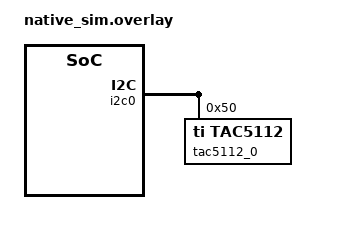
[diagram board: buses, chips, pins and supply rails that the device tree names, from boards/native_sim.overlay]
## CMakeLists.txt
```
#
# Copyright (c) 2026 Nordic Semiconductor ASA
#
# SPDX-License-Identifier: Apache-2.0
#

cmake_minimum_required(VERSION 3.20.0)
find_package(Zephyr REQUIRED HINTS $ENV{ZEPHYR_BASE})
project(tac5112_api)

# tac5112.h is a private driver header (not installed on the public
# include path); this whitebox test suite includes it directly to reach
# tac5112_reg_write()/tac5112_reg_read()/tac5112_configure_pll()/
# tac5112_dvol_from_half_db(), so add drivers/audio/ to the include path.
zephyr_include_directories(${ZEPHYR_BASE}/drivers/audio)

FILE(GLOB app_sources src/*.c)
target_sources(app PRIVATE ${app_sources})
```

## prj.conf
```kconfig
CONFIG_ZTEST=y

CONFIG_AUDIO=y
CONFIG_AUDIO_CODEC=y
CONFIG_AUDIO_TAC5112=y
CONFIG_AUDIO_TAC5112_EMUL=y

CONFIG_I2C=y
CONFIG_GPIO=y
CONFIG_EMUL=y
```

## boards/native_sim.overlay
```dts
/*
 * Copyright (c) 2026 Nordic Semiconductor ASA
 * SPDX-License-Identifier: Apache-2.0
 */

/ {
	aliases {
		tac5112-0 = &tac5112_0;
	};
};

&i2c0 {
	tac5112_0: audio-codec@50 {
		compatible = "ti,tac5112";
		reg = <0x50>;
	};
};
```

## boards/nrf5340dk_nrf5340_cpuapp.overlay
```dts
/*
 * Copyright (c) 2026 Nordic Semiconductor ASA
 * SPDX-License-Identifier: Apache-2.0
 *
 * Runs the TAC5112 driver + I2C-mock ztest suite on the nRF5340 DK
 * application core (Cortex-M33). Like the qemu_cortex_m3 overlay, it
 * supplies a software "zephyr,i2c-emul-controller" so the whole stack --
 * driver, Zephyr I2C API, and the mock -- runs with no physical codec.
 */

#include <zephyr/dt-bindings/i2c/i2c.h>

/ {
	aliases {
		tac5112-0 = &tac5112_0;
	};

	tac5112_i2c: i2c@100 {
		status = "okay";
		compatible = "zephyr,i2c-emul-controller";
		reg = <0x100 4>;
		clock-frequency = <I2C_BITRATE_STANDARD>;
		#address-cells = <1>;
		#size-cells = <0>;

		tac5112_0: audio-codec@50 {
			compatible = "ti,tac5112";
			reg = <0x50>;
		};
	};
};
```

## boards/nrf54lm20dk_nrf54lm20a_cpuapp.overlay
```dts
/*
 * Copyright (c) 2026 Nordic Semiconductor ASA
 * SPDX-License-Identifier: Apache-2.0
 *
 * Devicetree overlay for running the TAC5112 driver + I2C-mock ztest suite
 * on a Nordic nRF54LM20 DK (board target nrf54lm20dk/nrf54lm20a/cpuapp).
 *
 * This runs the *unit tests* on the real Cortex-M33 application core -- the
 * production driver code, the real Zephyr I2C API, kernel mutex and system
 * workqueue -- without needing a physical TAC5112 wired up. As on QEMU, the
 * codec is provided by the software mock (drivers/audio/tac5112_emul.c)
 * bound to a "zephyr,i2c-emul-controller" bus, so no real TWIM pins are
 * touched. For driving a *physical* codec over a real TWIM instance, see
 * the production overlay snippet in README.md instead.
 *
 * NOTE: confirm the exact board target on your NCS/Zephyr version with
 *   west boards | grep -i 54lm20
 * If it differs (e.g. a different SoC revision or a /ns variant), rename
 * this file to boards/<that-target-with-slashes-as-underscores>.overlay.
 */

#include <zephyr/dt-bindings/i2c/i2c.h>

/ {
	aliases {
		tac5112-0 = &tac5112_0;
	};

	tac5112_i2c: i2c@100 {
		status = "okay";
		compatible = "zephyr,i2c-emul-controller";
		/* This binding marks reg as required. The node is not real
		 * MMIO -- reg is only an identifier for an emulated bus -- but
		 * it must be present and match the @unit-address above.
		 */
		reg = <0x100 4>;
		clock-frequency = <I2C_BITRATE_STANDARD>;
		#address-cells = <1>;
		#size-cells = <0>;

		tac5112_0: audio-codec@50 {
			compatible = "ti,tac5112";
			reg = <0x50>;
		};
	};
};
```

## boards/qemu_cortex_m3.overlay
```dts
/*
 * Copyright (c) 2026 Nordic Semiconductor ASA
 * SPDX-License-Identifier: Apache-2.0
 *
 * Devicetree overlay for running the TAC5112 driver + I2C-mock ztest suite
 * on the qemu_cortex_m3 platform.
 *
 * Unlike native_sim (whose board devicetree already ships an emulated I2C
 * bus at &i2c0), qemu_cortex_m3 models the TI LM3S6965 SoC and provides no
 * usable I2C controller under QEMU. This overlay therefore instantiates a
 * software "zephyr,i2c-emul-controller" bus at the root of the tree and
 * hangs the TAC5112 node off it. Both the real driver device and the I2C
 * emulator (drivers/audio/tac5112_emul.c) bind to that same node, so the
 * whole stack -- codec driver, Zephyr I2C API, and the mock -- is exercised
 * exactly as it is on native_sim, just running on an emulated Cortex-M3.
 *
 * CONFIG_I2C_EMUL is selected automatically once this compatible is present
 * (its Kconfig defaults y on DT_HAS_ZEPHYR_I2C_EMUL_CONTROLLER_ENABLED).
 */

#include <zephyr/dt-bindings/i2c/i2c.h>

/ {
	aliases {
		tac5112-0 = &tac5112_0;
	};

	tac5112_i2c: i2c@100 {
		status = "okay";
		compatible = "zephyr,i2c-emul-controller";
		/* This binding marks reg as required. The node is not real
		 * MMIO -- reg is only an identifier for an emulated bus -- but
		 * it must be present and match the @unit-address above.
		 */
		reg = <0x100 4>;
		clock-frequency = <I2C_BITRATE_STANDARD>;
		#address-cells = <1>;
		#size-cells = <0>;

		tac5112_0: audio-codec@50 {
			compatible = "ti,tac5112";
			reg = <0x50>;
		};
	};
};
```

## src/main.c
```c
/*
 * Copyright (c) 2026 Nordic Semiconductor ASA
 *
 * SPDX-License-Identifier: Apache-2.0
 *
 * ztest suite for the TAC5112 audio codec driver. Runs on native_sim
 * against the I2C emulator in drivers/audio/tac5112_emul.c (see
 * boards/native_sim.overlay and prj.conf wiring), so the *real* driver
 * code and *real* I2C stack are exercised end to end.
 *
 * A note on testing NULL `dev` pointers: the convenience wrappers in
 * <zephyr/audio/codec.h> (audio_codec_configure(), audio_codec_set_property(),
 * ...) fetch the driver API table via `dev->api` *before* calling into the
 * driver, so passing dev == NULL to those wrappers directly is a crash, not
 * a testable error path -- by design, matching every other Zephyr device
 * subsystem. To still exercise this driver's own NULL-`dev` guards, the
 * tests below fetch `fixture->dev->api` once (a valid, non-NULL dev) and
 * then invoke the driver's callback function pointers directly, which is
 * safe because no further NULL dereference happens before the callback's
 * own tac5112_dev_valid() check runs.
 */

#include <errno.h>

#include <zephyr/ztest.h>
#include <zephyr/device.h>
#include <zephyr/audio/codec.h>
#include <zephyr/drivers/i2s.h>

#include "tac5112.h"

struct tac5112_fixture {
	const struct device *dev;
};

static struct audio_codec_cfg valid_codec_cfg(void)
{
	struct audio_codec_cfg cfg = {0};

	cfg.mclk_freq = 0U; /* not used in ASI-target mode */
	cfg.dai_type = AUDIO_DAI_TYPE_I2S;
	cfg.dai_route = AUDIO_ROUTE_PLAYBACK_CAPTURE;
	cfg.dai_cfg.i2s.word_size = AUDIO_PCM_WIDTH_16_BITS;
	cfg.dai_cfg.i2s.channels = 2U;
	cfg.dai_cfg.i2s.format = I2S_FMT_DATA_FORMAT_I2S;
	cfg.dai_cfg.i2s.options = I2S_OPT_BIT_CLK_TARGET | I2S_OPT_FRAME_CLK_TARGET;
	cfg.dai_cfg.i2s.frame_clk_freq = 48000U;

	return cfg;
}

static void configure_dut(const struct device *dev)
{
	struct audio_codec_cfg cfg = valid_codec_cfg();

	zassert_ok(audio_codec_configure(dev, &cfg), "baseline configure() failed");
}

static void *tac5112_suite_setup(void)
{
	static struct tac5112_fixture fixture;

	fixture.dev = DEVICE_DT_GET(DT_ALIAS(tac5112_0));
	zassert_true(device_is_ready(fixture.dev), "TAC5112 emulated device is not ready");

	return &fixture;
}

ZTEST_SUITE(tac5112, NULL, tac5112_suite_setup, NULL, NULL, NULL);

/* ---------------------------------------------------------------------
 * configure()
 * ---------------------------------------------------------------------
 */

ZTEST_F(tac5112, test_configure_accepts_valid_i2s_target_config)
{
	struct audio_codec_cfg cfg = valid_codec_cfg();
	uint8_t val;

	zassert_ok(audio_codec_configure(fixture->dev, &cfg));

	zassert_ok(tac5112_reg_read(fixture->dev, TAC5112_REG_PASI_CFG0, &val));
	zassert_equal((val & TAC5112_PASI_FORMAT_MASK) >> TAC5112_PASI_FORMAT_SHIFT,
		      TAC5112_PASI_FORMAT_I2S, "I2S format not programmed, got 0x%02x", val);
	zassert_equal((val & TAC5112_PASI_WLEN_MASK) >> TAC5112_PASI_WLEN_SHIFT,
		      TAC5112_PASI_WLEN_16, "16-bit word length not programmed, got 0x%02x", val);

	zassert_ok(tac5112_reg_read(fixture->dev, TAC5112_REG_CH_EN, &val));
	zassert_equal(val,
		      TAC5112_CH_EN_IN_CH1_BIT | TAC5112_CH_EN_IN_CH2_BIT |
			      TAC5112_CH_EN_OUT_CH1_BIT | TAC5112_CH_EN_OUT_CH2_BIT);

	zassert_ok(tac5112_reg_read(fixture->dev, TAC5112_REG_PWR_CFG, &val));
	zassert_equal(val, TAC5112_PWR_CFG_ADC_PDZ_BIT | TAC5112_PWR_CFG_MICBIAS_PDZ_BIT);
}

ZTEST_F(tac5112, test_configure_rejects_null_cfg)
{
	const struct audio_codec_api *api = fixture->dev->api;

	/* audio_codec_configure(dev, NULL) is safe to call through the
	 * wrapper: dev is non-NULL, so only this driver's own cfg == NULL
	 * check is exercised.
	 */
	zassert_equal(audio_codec_configure(fixture->dev, NULL), -EINVAL);

	/* Directly exercise the dev == NULL branch of codec_configure() by
	 * calling the API table entry without going through the wrapper
	 * (see file header comment for why the wrapper itself can't be used
	 * with dev == NULL).
	 */
	struct audio_codec_cfg cfg = valid_codec_cfg();

	zassert_equal(api->configure(NULL, &cfg), -EINVAL);
}

ZTEST_F(tac5112, test_configure_rejects_wrong_channel_count)
{
	struct audio_codec_cfg cfg = valid_codec_cfg();

	cfg.dai_cfg.i2s.channels = 1U;
	zassert_equal(audio_codec_configure(fixture->dev, &cfg), -EINVAL);

	cfg.dai_cfg.i2s.channels = 4U;
	zassert_equal(audio_codec_configure(fixture->dev, &cfg), -EINVAL);
}

ZTEST_F(tac5112, test_configure_rejects_out_of_range_sample_rate)
{
	struct audio_codec_cfg cfg = valid_codec_cfg();

	cfg.dai_cfg.i2s.frame_clk_freq = 1000U; /* below the 4 kHz floor */
	zassert_equal(audio_codec_configure(fixture->dev, &cfg), -EINVAL);

	cfg.dai_cfg.i2s.frame_clk_freq = 900000U; /* above the 768 kHz ceiling */
	zassert_equal(audio_codec_configure(fixture->dev, &cfg), -EINVAL);
}

ZTEST_F(tac5112, test_configure_rejects_bus_controller_mode)
{
	struct audio_codec_cfg cfg = valid_codec_cfg();

	/* Clearing the TARGET bits requests that the codec act as bus
	 * controller for BCLK/FSYNC, which this driver deliberately does
	 * not implement (see tac5112_configure_dai()).
	 */
	cfg.dai_cfg.i2s.options = 0U;
	zassert_equal(audio_codec_configure(fixture->dev, &cfg), -ENOTSUP);
}

ZTEST_F(tac5112, test_configure_rejects_unsupported_word_size)
{
	struct audio_codec_cfg cfg = valid_codec_cfg();

	cfg.dai_cfg.i2s.word_size = 0U;
	zassert_equal(audio_codec_configure(fixture->dev, &cfg), -EINVAL);
}

/* ---------------------------------------------------------------------
 * start_output() / stop_output() / start() / stop()
 * ---------------------------------------------------------------------
 */

ZTEST_F(tac5112, test_start_stop_output_toggles_dac_pdz_only)
{
	uint8_t before;
	uint8_t after;

	configure_dut(fixture->dev);

	zassert_ok(tac5112_reg_read(fixture->dev, TAC5112_REG_PWR_CFG, &before));
	zassert_equal(before & TAC5112_PWR_CFG_DAC_PDZ_BIT, 0, "DAC should start powered down");

	audio_codec_start_output(fixture->dev);
	zassert_ok(tac5112_reg_read(fixture->dev, TAC5112_REG_PWR_CFG, &after));
	zassert_equal(after, before | TAC5112_PWR_CFG_DAC_PDZ_BIT);

	audio_codec_stop_output(fixture->dev);
	zassert_ok(tac5112_reg_read(fixture->dev, TAC5112_REG_PWR_CFG, &after));
	zassert_equal(after, before);
}

ZTEST_F(tac5112, test_start_stop_direction_bitmap_validation)
{
	configure_dut(fixture->dev);

	zassert_ok(audio_codec_start(fixture->dev, AUDIO_DAI_DIR_RX));
	zassert_ok(audio_codec_stop(fixture->dev, AUDIO_DAI_DIR_TXRX));

	/* 0 and any bit above AUDIO_DAI_DIR_TXRX (0x3) must be rejected. */
	zassert_equal(audio_codec_start(fixture->dev, 0U), -EINVAL);
	zassert_equal(audio_codec_start(fixture->dev, 0x04U), -EINVAL);
	zassert_equal(audio_codec_stop(fixture->dev, 0x80U), -EINVAL);
}

/* ---------------------------------------------------------------------
 * set_property(): volume / mute
 * ---------------------------------------------------------------------
 */

ZTEST_F(tac5112, test_output_volume_bounds_checking)
{
	audio_property_value_t val;
	uint8_t before;
	uint8_t after;

	configure_dut(fixture->dev);
	zassert_ok(tac5112_reg_read(fixture->dev, TAC5112_REG_DAC_CH1A_CFG0, &before));

	/* One past the valid range on each side must be rejected, and must
	 * not have modified hardware state.
	 */
	val.vol = TAC5112_DAC_VOL_MIN_HALF_DB - 1;
	zassert_equal(audio_codec_set_property(fixture->dev, AUDIO_PROPERTY_OUTPUT_VOLUME,
						AUDIO_CHANNEL_FRONT_LEFT, val),
		      -EINVAL);
	val.vol = TAC5112_DAC_VOL_MAX_HALF_DB + 1;
	zassert_equal(audio_codec_set_property(fixture->dev, AUDIO_PROPERTY_OUTPUT_VOLUME,
						AUDIO_CHANNEL_FRONT_LEFT, val),
		      -EINVAL);

	zassert_ok(tac5112_reg_read(fixture->dev, TAC5112_REG_DAC_CH1A_CFG0, &after));
	zassert_equal(before, after, "rejected volume write must not touch hardware");

	/* 0 dB (val.vol == 0) must land exactly on the documented 0 dB code. */
	val.vol = 0;
	zassert_ok(audio_codec_set_property(fixture->dev, AUDIO_PROPERTY_OUTPUT_VOLUME,
					     AUDIO_CHANNEL_FRONT_LEFT, val));
	zassert_ok(tac5112_reg_read(fixture->dev, TAC5112_REG_DAC_CH1A_CFG0, &after));
	zassert_equal(after, TAC5112_DAC_DVOL_0DB);
	/* Left channel uses two DAC cores (1A/1B) for differential drive;
	 * both must be written identically.
	 */
	zassert_ok(tac5112_reg_read(fixture->dev, TAC5112_REG_DAC_CH1B_CFG0, &after));
	zassert_equal(after, TAC5112_DAC_DVOL_0DB);

	/* The extreme ends of the range must be accepted. */
	val.vol = (int)TAC5112_DAC_VOL_MIN_HALF_DB;
	zassert_ok(audio_codec_set_property(fixture->dev, AUDIO_PROPERTY_OUTPUT_VOLUME,
					     AUDIO_CHANNEL_FRONT_LEFT, val));
	zassert_ok(tac5112_reg_read(fixture->dev, TAC5112_REG_DAC_CH1A_CFG0, &after));
	zassert_equal(after, TAC5112_DAC_DVOL_MIN);

	val.vol = (int)TAC5112_DAC_VOL_MAX_HALF_DB;
	zassert_ok(audio_codec_set_property(fixture->dev, AUDIO_PROPERTY_OUTPUT_VOLUME,
					     AUDIO_CHANNEL_FRONT_LEFT, val));
	zassert_ok(tac5112_reg_read(fixture->dev, TAC5112_REG_DAC_CH1A_CFG0, &after));
	zassert_equal(after, TAC5112_DAC_DVOL_MAX);
}

ZTEST_F(tac5112, test_mute_then_unmute_restores_previous_volume)
{
	audio_property_value_t val;
	uint8_t reg;

	configure_dut(fixture->dev);

	val.vol = 10; /* +5.0 dB */
	zassert_ok(audio_codec_set_property(fixture->dev, AUDIO_PROPERTY_OUTPUT_VOLUME,
					     AUDIO_CHANNEL_FRONT_RIGHT, val));
	zassert_ok(tac5112_reg_read(fixture->dev, TAC5112_REG_DAC_CH2A_CFG0, &reg));
	zassert_equal(reg, TAC5112_DAC_DVOL_0DB + 10);

	val.mute = true;
	zassert_ok(audio_codec_set_property(fixture->dev, AUDIO_PROPERTY_OUTPUT_MUTE,
					     AUDIO_CHANNEL_FRONT_RIGHT, val));
	zassert_ok(tac5112_reg_read(fixture->dev, TAC5112_REG_DAC_CH2A_CFG0, &reg));
	zassert_equal(reg, TAC5112_DVOL_MUTE);

	val.mute = false;
	zassert_ok(audio_codec_set_property(fixture->dev, AUDIO_PROPERTY_OUTPUT_MUTE,
					     AUDIO_CHANNEL_FRONT_RIGHT, val));
	zassert_ok(tac5112_reg_read(fixture->dev, TAC5112_REG_DAC_CH2A_CFG0, &reg));
	zassert_equal(reg, TAC5112_DAC_DVOL_0DB + 10, "unmute must restore the cached volume");
}

ZTEST_F(tac5112, test_input_volume_uses_adc_range)
{
	audio_property_value_t val;
	uint8_t reg;

	configure_dut(fixture->dev);

	val.vol = (int)TAC5112_ADC_VOL_MAX_HALF_DB + 1;
	zassert_equal(audio_codec_set_property(fixture->dev, AUDIO_PROPERTY_INPUT_VOLUME,
						AUDIO_CHANNEL_ALL, val),
		      -EINVAL);

	val.vol = 0;
	zassert_ok(audio_codec_set_property(fixture->dev, AUDIO_PROPERTY_INPUT_VOLUME,
					     AUDIO_CHANNEL_ALL, val));
	zassert_ok(tac5112_reg_read(fixture->dev, TAC5112_REG_ADC_CH1_CFG2, &reg));
	zassert_equal(reg, TAC5112_ADC_DVOL_0DB);
	zassert_ok(tac5112_reg_read(fixture->dev, TAC5112_REG_ADC_CH2_CFG2, &reg));
	zassert_equal(reg, TAC5112_ADC_DVOL_0DB);
}

ZTEST_F(tac5112, test_set_property_rejects_unsupported_channel_and_property)
{
	audio_property_value_t val = {.vol = 0};

	configure_dut(fixture->dev);

	zassert_equal(audio_codec_set_property(fixture->dev, AUDIO_PROPERTY_OUTPUT_VOLUME,
						AUDIO_CHANNEL_LFE, val),
		      -ENOTSUP);
	zassert_equal(audio_codec_set_property(fixture->dev, AUDIO_PROPERTY_OUTPUT_VOLUME,
						(audio_channel_t)(AUDIO_CHANNEL_PRIV_START + 5),
						val),
		      -ENOTSUP);
	zassert_equal(
		audio_codec_set_property(fixture->dev, AUDIO_PROPERTY_EQ_GAIN,
					  AUDIO_CHANNEL_ALL, val),
		-ENOTSUP);
}

ZTEST_F(tac5112, test_set_property_rejects_null_dev)
{
	const struct audio_codec_api *api = fixture->dev->api;
	audio_property_value_t val = {.vol = 0};

	zassert_equal(api->set_property(NULL, AUDIO_PROPERTY_OUTPUT_VOLUME,
					 AUDIO_CHANNEL_ALL, val),
		      -EINVAL);
}

ZTEST_F(tac5112, test_apply_properties_is_a_no_op_success)
{
	zassert_ok(audio_codec_apply_properties(fixture->dev));
}

/* ---------------------------------------------------------------------
 * PLL control
 * ---------------------------------------------------------------------
 */

ZTEST_F(tac5112, test_pll_auto_mode_programs_clk_src_and_clears_custom_bit)
{
	struct tac5112_pll_config pll = {
		.auto_config = true,
		.fractional_allowed = false,
		.clk_src = TAC5112_PLL_CLK_SRC_SASI_BCLK,
	};
	uint8_t val;

	configure_dut(fixture->dev);
	zassert_ok(tac5112_configure_pll(fixture->dev, &pll));

	zassert_ok(tac5112_reg_read(fixture->dev, TAC5112_REG_CLK_CFG2, &val));
	zassert_equal((val & TAC5112_CLK_SRC_SEL_MASK) >> TAC5112_CLK_SRC_SEL_SHIFT,
		      TAC5112_PLL_CLK_SRC_SASI_BCLK);
	zassert_equal(val & TAC5112_AUTO_PLL_FR_ALLOW_BIT, 0);
	zassert_equal(val & TAC5112_PLL_DIS_BIT, 0, "auto mode must leave the PLL enabled");

	zassert_ok(tac5112_reg_read(fixture->dev, TAC5112_REG_CLK_CFG0, &val));
	zassert_equal(val & TAC5112_CUSTOM_CLK_CFG_BIT, 0);
}

ZTEST_F(tac5112, test_pll_custom_mode_writes_all_dividers)
{
	struct tac5112_pll_config pll = {
		.auto_config = false,
		.clk_src = TAC5112_PLL_CLK_SRC_PASI_BCLK,
		.pdiv = 2U,
		.jmul = 384U, /* > 255, exercises the JMUL MSB bit */
		.dmul = 5000U,
		.ndiv = 3U,
		.mdiv = 15U,
		.pdm_div_sel = 2U,
		.adc_modclk_div_sel = 1U,
	};
	uint8_t val;

	configure_dut(fixture->dev);
	zassert_ok(tac5112_configure_pll(fixture->dev, &pll));

	zassert_ok(tac5112_reg_read(fixture->dev, TAC5112_REG_CLK_CFG0, &val));
	zassert_equal(val & TAC5112_CUSTOM_CLK_CFG_BIT, TAC5112_CUSTOM_CLK_CFG_BIT);

	zassert_ok(tac5112_reg_read(fixture->dev, TAC5112_REG_CLK_CFG15, &val));
	zassert_equal(val, 2U);

	zassert_ok(tac5112_reg_read(fixture->dev, TAC5112_REG_CLK_CFG18, &val));
	zassert_equal(val, (uint8_t)(384U & 0xFFU));
	zassert_ok(tac5112_reg_read(fixture->dev, TAC5112_REG_CLK_CFG16, &val));
	zassert_equal(val & TAC5112_PLL_JMUL_MSB_BIT, TAC5112_PLL_JMUL_MSB_BIT,
		      "JMUL=384 requires the MSB bit set");
	zassert_equal(val & TAC5112_PLL_DMUL_MSB_MASK, (5000U >> 8) & TAC5112_PLL_DMUL_MSB_MASK);

	zassert_ok(tac5112_reg_read(fixture->dev, TAC5112_REG_CLK_CFG17, &val));
	zassert_equal(val, (uint8_t)(5000U & 0xFFU));

	zassert_ok(tac5112_reg_read(fixture->dev, TAC5112_REG_CLK_CFG19, &val));
	zassert_equal(val, (uint8_t)((3U << TAC5112_NDIV_SHIFT) | (2U << TAC5112_PDM_DIV_SHIFT)));

	zassert_ok(tac5112_reg_read(fixture->dev, TAC5112_REG_CLK_CFG20, &val));
	zassert_equal(val, (uint8_t)((15U << TAC5112_MDIV_SHIFT) | 1U));
}

ZTEST_F(tac5112, test_pll_rejects_out_of_range_fields_without_side_effects)
{
	struct tac5112_pll_config base = {
		.auto_config = false,
		.clk_src = TAC5112_PLL_CLK_SRC_PASI_BCLK,
		.pdiv = 1U,
		.jmul = 8U,
		.dmul = 0U,
		.ndiv = 1U,
		.mdiv = 1U,
	};
	struct tac5112_pll_config bad;
	uint8_t before;
	uint8_t after;

	configure_dut(fixture->dev);
	zassert_ok(tac5112_reg_read(fixture->dev, TAC5112_REG_CLK_CFG15, &before));

	bad = base;
	bad.jmul = 0U; /* below TAC5112_PLL_JMUL_MIN */
	zassert_equal(tac5112_configure_pll(fixture->dev, &bad), -EINVAL);

	bad = base;
	bad.jmul = 512U; /* above TAC5112_PLL_JMUL_MAX */
	zassert_equal(tac5112_configure_pll(fixture->dev, &bad), -EINVAL);

	bad = base;
	bad.dmul = 10000U; /* above TAC5112_PLL_DMUL_MAX */
	zassert_equal(tac5112_configure_pll(fixture->dev, &bad), -EINVAL);

	bad = base;
	bad.ndiv = 8U; /* above TAC5112_PLL_NDIV_MAX (3-bit field) */
	zassert_equal(tac5112_configure_pll(fixture->dev, &bad), -EINVAL);

	bad = base;
	bad.mdiv = 64U; /* above TAC5112_PLL_MDIV_MAX (6-bit field) */
	zassert_equal(tac5112_configure_pll(fixture->dev, &bad), -EINVAL);

	bad = base;
	bad.pdm_div_sel = 5U; /* above TAC5112_PLL_PDM_DIV_SEL_MAX */
	zassert_equal(tac5112_configure_pll(fixture->dev, &bad), -EINVAL);

	bad = base;
	bad.adc_modclk_div_sel = 3U; /* above TAC5112_ADC_MODCLK_DIV_SEL_MAX */
	zassert_equal(tac5112_configure_pll(fixture->dev, &bad), -EINVAL);

	bad = base;
	bad.clk_src = (enum tac5112_pll_clk_src)6; /* above TAC5112_CLK_SRC_SEL_MAX */
	zassert_equal(tac5112_configure_pll(fixture->dev, &bad), -EINVAL);

	/* None of the rejected calls above may have written CLK_CFG15
	 * (PDIV) or any other divider register: rejection happens before
	 * the first I2C write.
	 */
	zassert_ok(tac5112_reg_read(fixture->dev, TAC5112_REG_CLK_CFG15, &after));
	zassert_equal(before, after);
}

ZTEST_F(tac5112, test_pll_rejects_null_pointers)
{
	struct tac5112_pll_config pll = {.auto_config = true};

	zassert_equal(tac5112_configure_pll(NULL, &pll), -EINVAL);
	zassert_equal(tac5112_configure_pll(fixture->dev, NULL), -EINVAL);
}

/* ---------------------------------------------------------------------
 * Error handling
 * ---------------------------------------------------------------------
 */

ZTEST_F(tac5112, test_clear_errors_and_register_callback)
{
	configure_dut(fixture->dev);

	zassert_ok(audio_codec_clear_errors(fixture->dev));

	/* NULL is a legal "unregister" callback value. */
	zassert_ok(audio_codec_register_error_callback(fixture->dev, NULL));
}

ZTEST_F(tac5112, test_configure_enables_fault_interrupts)
{
	uint8_t val;

	configure_dut(fixture->dev);

	/* INT_CFG programmed to active-low, assert-on-latched-event. */
	zassert_ok(tac5112_reg_read(fixture->dev, TAC5112_REG_INT_CFG, &val));
	zassert_equal(val, TAC5112_INT_CFG_FAULT_IRQ, "INT_CFG not set for fault IRQ");

	/* Output short-circuit and virtual-ground faults unmasked (bit clear). */
	zassert_ok(tac5112_reg_read(fixture->dev, TAC5112_REG_INT_MASK4, &val));
	zassert_equal(val & (TAC5112_INT_MASK4_OUT_SC_BIT | TAC5112_INT_MASK4_DRVR_VG_BIT),
		      0, "OUT SC / virtual-ground fault interrupts must be unmasked");

	/* Clock-error / PLL-lock (INT_MASK0) are intentionally left masked. */
	zassert_ok(tac5112_reg_read(fixture->dev, TAC5112_REG_INT_MASK0, &val));
	zassert_equal(val & TAC5112_INT_MASK0_CLK_ERR_BIT, TAC5112_INT_MASK0_CLK_ERR_BIT,
		      "clock-error interrupt should remain masked for now");
}

/* ---------------------------------------------------------------------
 * Low-level I2C helpers: pointer validation and bounds checking
 * ---------------------------------------------------------------------
 */

ZTEST_F(tac5112, test_reg_helpers_reject_null_pointers)
{
	uint8_t val;

	zassert_equal(tac5112_reg_write(NULL, TAC5112_REG_SW_RESET, 0), -EINVAL);
	zassert_equal(tac5112_reg_read(NULL, TAC5112_REG_SW_RESET, &val), -EINVAL);
	zassert_equal(tac5112_reg_read(fixture->dev, TAC5112_REG_SW_RESET, NULL), -EINVAL);
}

ZTEST_F(tac5112, test_reg_update_preserves_untouched_bits)
{
	uint8_t before;
	uint8_t after;

	configure_dut(fixture->dev);

	zassert_ok(tac5112_reg_read(fixture->dev, TAC5112_REG_CLK_CFG2, &before));
	zassert_ok(tac5112_reg_update(fixture->dev, TAC5112_REG_CLK_CFG2,
				       TAC5112_AUTO_PLL_FR_ALLOW_BIT, 0));
	zassert_ok(tac5112_reg_read(fixture->dev, TAC5112_REG_CLK_CFG2, &after));

	zassert_equal(after, (uint8_t)(before & (uint8_t)~TAC5112_AUTO_PLL_FR_ALLOW_BIT));
}

ZTEST_F(tac5112, test_page_select_cache_survives_cross_page_access)
{
	uint8_t page0_val;
	uint8_t page1_val;
	uint8_t page3_val;

	configure_dut(fixture->dev);

	/* Interleave reads/writes across pages 0, 1 and 3 and confirm each
	 * still lands on the correct page-scoped register: catches page
	 * cache invalidation bugs.
	 */
	zassert_ok(tac5112_reg_read(fixture->dev, TAC5112_REG_CH_EN, &page0_val));
	zassert_ok(tac5112_reg_read(fixture->dev, TAC5112_REG_INT_MASK0, &page1_val));
	zassert_ok(tac5112_reg_read(fixture->dev, TAC5112_REG_CLK_CFG15, &page3_val));
	zassert_equal(page1_val, 0xFFU, "INT_MASK0 reset default");
	zassert_equal(page3_val, 0x01U, "CLK_CFG15 (PDIV) reset default");

	zassert_ok(tac5112_reg_write(fixture->dev, TAC5112_REG_CLK_CFG15, 7U));
	zassert_ok(tac5112_reg_read(fixture->dev, TAC5112_REG_CH_EN, &page0_val));
	zassert_equal(page0_val,
		      TAC5112_CH_EN_IN_CH1_BIT | TAC5112_CH_EN_IN_CH2_BIT |
			      TAC5112_CH_EN_OUT_CH1_BIT | TAC5112_CH_EN_OUT_CH2_BIT,
		      "page 0 register must be unaffected by a page 3 write");

	zassert_ok(tac5112_reg_read(fixture->dev, TAC5112_REG_CLK_CFG15, &page3_val));
	zassert_equal(page3_val, 7U);
}

/* ---------------------------------------------------------------------
 * tac5112_dvol_from_half_db(): whitebox unit tests, no I2C involved
 * ---------------------------------------------------------------------
 */

ZTEST(tac5112, test_dvol_conversion_dac_range)
{
	uint8_t dvol;

	zassert_ok(tac5112_dvol_from_half_db(true, TAC5112_DAC_VOL_MIN_HALF_DB, &dvol));
	zassert_equal(dvol, TAC5112_DAC_DVOL_MIN);

	zassert_ok(tac5112_dvol_from_half_db(true, 0, &dvol));
	zassert_equal(dvol, TAC5112_DAC_DVOL_0DB);

	zassert_ok(tac5112_dvol_from_half_db(true, TAC5112_DAC_VOL_MAX_HALF_DB, &dvol));
	zassert_equal(dvol, TAC5112_DAC_DVOL_MAX);

	zassert_equal(
		tac5112_dvol_from_half_db(true, TAC5112_DAC_VOL_MIN_HALF_DB - 1, &dvol),
		-EINVAL);
	zassert_equal(
		tac5112_dvol_from_half_db(true, TAC5112_DAC_VOL_MAX_HALF_DB + 1, &dvol),
		-EINVAL);
}

ZTEST(tac5112, test_dvol_conversion_adc_range)
{
	uint8_t dvol;

	zassert_ok(tac5112_dvol_from_half_db(false, TAC5112_ADC_VOL_MIN_HALF_DB, &dvol));
	zassert_equal(dvol, TAC5112_ADC_DVOL_MIN);

	zassert_ok(tac5112_dvol_from_half_db(false, TAC5112_ADC_VOL_MAX_HALF_DB, &dvol));
	zassert_equal(dvol, TAC5112_ADC_DVOL_MAX);

	zassert_equal(
		tac5112_dvol_from_half_db(false, TAC5112_ADC_VOL_MAX_HALF_DB + 1, &dvol),
		-EINVAL);
}

ZTEST(tac5112, test_dvol_conversion_rejects_null_output)
{
	zassert_equal(tac5112_dvol_from_half_db(true, 0, NULL), -EINVAL);
}

/* A huge out-of-range value must be rejected on its full width, not
 * silently wrapped/truncated by an internal narrowing cast before the
 * range check runs (this is the specific bug class strict bounds
 * checking is meant to prevent).
 */
ZTEST(tac5112, test_dvol_conversion_does_not_truncate_before_bounds_check)
{
	uint8_t dvol = 0xAAU;

	zassert_equal(tac5112_dvol_from_half_db(true, 65536 + 10, &dvol), -EINVAL);
	zassert_equal(dvol, 0xAAU, "rejected conversion must not touch the output parameter");
}
```
